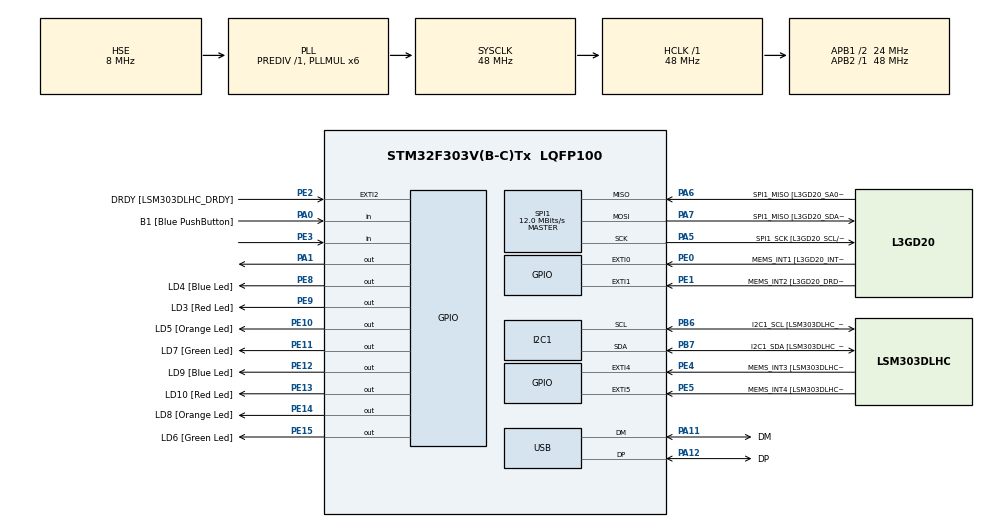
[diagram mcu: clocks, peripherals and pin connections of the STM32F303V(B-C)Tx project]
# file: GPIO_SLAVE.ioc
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I2C1.Timing=0x2000090E
I2C1.Timing-I2C=0x2000090E
Mcu.Family=STM32F3
Mcu.Name=STM32F303V(B-C)Tx
Mcu.Package=LQFP100
NVIC.PriorityGroup=NVIC_PRIORITYGROUP_0
PA0.GPIO_Label=B1 [Blue PushButton]
PA0.Signal=GPIO_Input
PA1.Signal=GPIO_Output
PA11.GPIO_Label=DM
PA11.Mode=Device
PA11.Signal=USB_DM
PA12.GPIO_Label=DP
PA12.Mode=Device
PA12.Signal=USB_DP
PA13.GPIO_Label=SWDIO
PA13.Mode=Serial_Wire
PA13.Signal=SYS_JTMS-SWDIO
PA14.GPIO_Label=SWCLK
PA14.Mode=Serial_Wire
PA14.Signal=SYS_JTCK-SWCLK
PA5.GPIO_Label=SPI1_SCK [L3GD20_SCL/SPC]
PA5.Mode=Full_Duplex_Master
PA5.Signal=SPI1_SCK
PA6.GPIO_Label=SPI1_MISO [L3GD20_SA0/SDO]
PA6.Mode=Full_Duplex_Master
PA6.Signal=SPI1_MISO
PA7.GPIO_Label=SPI1_MISO [L3GD20_SDA/SDI/SDO]
PA7.Mode=Full_Duplex_Master
PA7.Signal=SPI1_MOSI
PB3.GPIO_Label=SWO
PB3.Signal=SYS_JTDO-TRACESWO
PB6.GPIO_Label=I2C1_SCL [LSM303DLHC_SCL]
PB6.GPIO_Pu=GPIO_PULLUP
PB6.Mode=I2C
PB6.Signal=I2C1_SCL
PB7.GPIO_Label=I2C1_SDA [LSM303DLHC_SDA]
PB7.GPIO_Pu=GPIO_PULLUP
PB7.Mode=I2C
PB7.Signal=I2C1_SDA
PC14-OSC32_IN.GPIO_Label=OSC32_IN
PC14-OSC32_IN.Signal=RCC_OSC32_IN
PC15-OSC32_OUT.GPIO_Label=OSC32_OUT
PC15-OSC32_OUT.Signal=RCC_OSC32_OUT
PE0.GPIO_Label=MEMS_INT1 [L3GD20_INT1]
PE0.GPIO_ModeDefaultEXTI=GPIO_MODE_EVT_RISING
PE0.Signal=GPXTI0
PE1.GPIO_Label=MEMS_INT2 [L3GD20_DRDY/INT2]
PE1.GPIO_ModeDefaultEXTI=GPIO_MODE_EVT_RISING
PE1.Signal=GPXTI1
PE10.GPIO_Label=LD5 [Orange Led]
PE10.Signal=GPIO_Output
PE11.GPIO_Label=LD7 [Green Led]
PE11.Signal=GPIO_Output
PE12.GPIO_Label=LD9 [Blue Led]
PE12.Signal=GPIO_Output
PE13.GPIO_Label=LD10 [Red Led]
PE13.Signal=GPIO_Output
PE14.GPIO_Label=LD8 [Orange Led]
PE14.Signal=GPIO_Output
PE15.GPIO_Label=LD6 [Green Led]
PE15.Signal=GPIO_Output
PE2.GPIO_Label=DRDY [LSM303DLHC_DRDY]
PE2.GPIO_ModeDefaultEXTI=GPIO_MODE_EVT_RISING
PE2.Signal=GPXTI2
PE3.Signal=GPIO_Input
PE4.GPIO_Label=MEMS_INT3 [LSM303DLHC_INT1]
PE4.GPIO_ModeDefaultEXTI=GPIO_MODE_EVT_RISING
PE4.Signal=GPXTI4
PE5.GPIO_Label=MEMS_INT4 [LSM303DLHC_INT2]
PE5.GPIO_ModeDefaultEXTI=GPIO_MODE_EVT_RISING
PE5.Signal=GPXTI5
PE8.GPIO_Label=LD4 [Blue Led]
PE8.Signal=GPIO_Output
PE9.GPIO_Label=LD3 [Red Led]
PE9.Signal=GPIO_Output
PF0-OSC_IN.GPIO_Label=OSC_IN
PF0-OSC_IN.Mode=HSE-External-Clock-Source
PF0-OSC_IN.Signal=RCC_OSC_IN
PF1-OSC_OUT.GPIO_Label=OSC_OUT
PF1-OSC_OUT.Signal=RCC_OSC_OUT
ProjectManager.HeapSize=0x200
ProjectManager.StackSize=0x400
ProjectManager.TargetToolchain=STM32CubeIDE
RCC.AHBFreq_Value=48000000
RCC.APB1CLKDivider=RCC_HCLK_DIV2
RCC.APB1Freq_Value=24000000
RCC.APB1TimFreq_Value=48000000
RCC.APB2Freq_Value=48000000
RCC.APB2TimFreq_Value=48000000
RCC.CortexFreq_Value=48000000
RCC.HCLKFreq_Value=48000000
RCC.HSE_VALUE=8000000
RCC.HSI_VALUE=8000000
RCC.LSE_VALUE=32768
RCC.PLLMUL=RCC_PLL_MUL6
RCC.SYSCLKFreq_VALUE=48000000
RCC.SYSCLKSourceVirtual=RCC_SYSCLKSOURCE_PLLCLK
RCC.USBFreq_Value=48000000
SPI1.BaudRatePrescaler=SPI_BAUDRATEPRESCALER_4
SPI1.BaudRatePrescaler-Full_Duplex_Master=SPI_BAUDRATEPRESCALER_2
SPI1.CalculateBaudRate=12.0 MBits/s
SPI1.CalculateBaudRate-Full_Duplex_Master=24.0 MBits/s
SPI1.Direction=SPI_DIRECTION_2LINES
SPI1.Mode=SPI_MODE_MASTER
SPI1.Mode-Full_Duplex_Master=SPI_MODE_MASTER
SPI1.VirtualType=VM_MASTER
board=STM32F3DISCOVERY

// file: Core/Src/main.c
/* USER CODE BEGIN Header */
/**
  ******************************************************************************
  * @file           : main.c
  * @brief          : Main program body
  ******************************************************************************
  * @attention
  *
  * Copyright (c) 2025 STMicroelectronics.
  * All rights reserved.
  *
  * This software is licensed under terms that can be found in the LICENSE file
  * in the root directory of this software component.
  * If no LICENSE file comes with this software, it is provided AS-IS.
  *
  ******************************************************************************
  */
/* USER CODE END Header */
#include "main.h"

/* USER CODE BEGIN Includes */
#include "serial.h"
#include "timer.h"
#include <stdio.h>
#include <string.h>
#include <stdlib.h>
/* USER CODE END Includes */

I2C_HandleTypeDef hi2c1;

SPI_HandleTypeDef hspi1;

PCD_HandleTypeDef hpcd_USB_FS;

/* USER CODE BEGIN PV */
volatile uint8_t exti_flag = 0;
volatile uint8_t pin_check_pending = 0;
/* USER CODE END PV */

void SystemClock_Config(void);
static void MX_GPIO_Init(void);
static void MX_I2C1_Init(void);
static void MX_SPI1_Init(void);
static void MX_USB_PCD_Init(void);

int main(void)
{

  /* USER CODE BEGIN 1 */
    HAL_Init();
    SystemClock_Config();
    MX_GPIO_Init();      // Don't reconfigure UART TX/RX pins here
    MX_I2C1_Init();
    MX_SPI1_Init();
    MX_USB_PCD_Init();

    SerialInitialise(BAUD_115200, &USART1_PORT, &finished_transmission);
    enable_clocks();

    SerialOutputString((uint8_t*)"Slave Ready\r\n", &USART1_PORT);
  /* USER CODE END 1 */

  /* MCU Configuration--------------------------------------------------------*/

  /* Reset of all peripherals, Initializes the Flash interface and the Systick. */
  HAL_Init();

  /* Configure the system clock */
  SystemClock_Config();

  /* Initialize all configured peripherals */
  MX_GPIO_Init();
  MX_I2C1_Init();
  MX_SPI1_Init();
  MX_USB_PCD_Init();
  /* USER CODE BEGIN 2 */
  HAL_GPIO_WritePin(GPIOE, GPIO_PIN_3, GPIO_PIN_RESET);
  HAL_Delay(50);
  HAL_GPIO_WritePin(GPIOE, GPIO_PIN_3, GPIO_PIN_SET);
  HAL_Delay(50); // Allow signal to settle
  /* USER CODE END 2 */

  /* Infinite loop */
  /* USER CODE BEGIN WHILE */
  while (1)
  {
	    // Wait until master pulls PE3 high (meaning: it sent a signal)
	    if (HAL_GPIO_ReadPin(GPIOE, GPIO_PIN_3) == GPIO_PIN_SET)
	    {
	        // Optional: wait a bit to debounce or allow signal to stabilize
	        HAL_Delay(5);

	        // Check some condition (e.g., a button press or state)
	        // For demo, we just simulate a PASS condition
	        int condition_passed = 1; // Replace with actual logic

	        if (condition_passed)
	        {
	            HAL_GPIO_WritePin(GPIOA, GPIO_PIN_1, GPIO_PIN_SET);  // Send HIGH response
	            SerialOutputString((uint8_t*)"Slave: Condition PASS, sent HIGH\r\n", &USART1_PORT);
	        }
	        else
	        {
	            HAL_GPIO_WritePin(GPIOA, GPIO_PIN_1, GPIO_PIN_RESET); // Send LOW response
	            SerialOutputString((uint8_t*)"Slave: Condition FAIL, sent LOW\r\n", &USART1_PORT);
	        }

	        // Keep the signal for a short time, then reset
	        HAL_Delay(50);
	        HAL_GPIO_WritePin(GPIOA, GPIO_PIN_1, GPIO_PIN_RESET);  // Reset after pulse
	        HAL_Delay(100);  // Give some breathing room
	    }
	}

    /* USER CODE END WHILE */

  }
}

void SystemClock_Config(void)
{
  RCC_OscInitTypeDef RCC_OscInitStruct = {0};
  RCC_ClkInitTypeDef RCC_ClkInitStruct = {0};
  RCC_PeriphCLKInitTypeDef PeriphClkInit = {0};

  /** Initializes the RCC Oscillators according to the specified parameters
  * in the RCC_OscInitTypeDef structure.
  */
  RCC_OscInitStruct.OscillatorType = RCC_OSCILLATORTYPE_HSI|RCC_OSCILLATORTYPE_HSE;
  RCC_OscInitStruct.HSEState = RCC_HSE_BYPASS;
  RCC_OscInitStruct.HSEPredivValue = RCC_HSE_PREDIV_DIV1;
  RCC_OscInitStruct.HSIState = RCC_HSI_ON;
  RCC_OscInitStruct.HSICalibrationValue = RCC_HSICALIBRATION_DEFAULT;
  RCC_OscInitStruct.PLL.PLLState = RCC_PLL_ON;
  RCC_OscInitStruct.PLL.PLLSource = RCC_PLLSOURCE_HSE;
  RCC_OscInitStruct.PLL.PLLMUL = RCC_PLL_MUL6;
  if (HAL_RCC_OscConfig(&RCC_OscInitStruct) != HAL_OK)
  {
    Error_Handler();
  }

  /** Initializes the CPU, AHB and APB buses clocks
  */
  RCC_ClkInitStruct.ClockType = RCC_CLOCKTYPE_HCLK|RCC_CLOCKTYPE_SYSCLK
                              |RCC_CLOCKTYPE_PCLK1|RCC_CLOCKTYPE_PCLK2;
  RCC_ClkInitStruct.SYSCLKSource = RCC_SYSCLKSOURCE_PLLCLK;
  RCC_ClkInitStruct.AHBCLKDivider = RCC_SYSCLK_DIV1;
  RCC_ClkInitStruct.APB1CLKDivider = RCC_HCLK_DIV2;
  RCC_ClkInitStruct.APB2CLKDivider = RCC_HCLK_DIV1;

  if (HAL_RCC_ClockConfig(&RCC_ClkInitStruct, FLASH_LATENCY_1) != HAL_OK)
  {
    Error_Handler();
  }
  PeriphClkInit.PeriphClockSelection = RCC_PERIPHCLK_USB|RCC_PERIPHCLK_I2C1;
  PeriphClkInit.I2c1ClockSelection = RCC_I2C1CLKSOURCE_HSI;
  PeriphClkInit.USBClockSelection = RCC_USBCLKSOURCE_PLL;
  if (HAL_RCCEx_PeriphCLKConfig(&PeriphClkInit) != HAL_OK)
  {
    Error_Handler();
  }
}

static void MX_I2C1_Init(void)
{

  hi2c1.Instance = I2C1;
  hi2c1.Init.Timing = 0x2000090E;
  hi2c1.Init.OwnAddress1 = 0;
  hi2c1.Init.AddressingMode = I2C_ADDRESSINGMODE_7BIT;
  hi2c1.Init.DualAddressMode = I2C_DUALADDRESS_DISABLE;
  hi2c1.Init.OwnAddress2 = 0;
  hi2c1.Init.OwnAddress2Masks = I2C_OA2_NOMASK;
  hi2c1.Init.GeneralCallMode = I2C_GENERALCALL_DISABLE;
  hi2c1.Init.NoStretchMode = I2C_NOSTRETCH_DISABLE;
  if (HAL_I2C_Init(&hi2c1) != HAL_OK)
  {
    Error_Handler();
  }

  /** Configure Analogue filter
  */
  if (HAL_I2CEx_ConfigAnalogFilter(&hi2c1, I2C_ANALOGFILTER_ENABLE) != HAL_OK)
  {
    Error_Handler();
  }

  /** Configure Digital filter
  */
  if (HAL_I2CEx_ConfigDigitalFilter(&hi2c1, 0) != HAL_OK)
  {
    Error_Handler();
  }

}

static void MX_SPI1_Init(void)
{

  /* SPI1 parameter configuration*/
  hspi1.Instance = SPI1;
  hspi1.Init.Mode = SPI_MODE_MASTER;
  hspi1.Init.Direction = SPI_DIRECTION_2LINES;
  hspi1.Init.DataSize = SPI_DATASIZE_4BIT;
  hspi1.Init.CLKPolarity = SPI_POLARITY_LOW;
  hspi1.Init.CLKPhase = SPI_PHASE_1EDGE;
  hspi1.Init.NSS = SPI_NSS_SOFT;
  hspi1.Init.BaudRatePrescaler = SPI_BAUDRATEPRESCALER_4;
  hspi1.Init.FirstBit = SPI_FIRSTBIT_MSB;
  hspi1.Init.TIMode = SPI_TIMODE_DISABLE;
  hspi1.Init.CRCCalculation = SPI_CRCCALCULATION_DISABLE;
  hspi1.Init.CRCPolynomial = 7;
  hspi1.Init.CRCLength = SPI_CRC_LENGTH_DATASIZE;
  hspi1.Init.NSSPMode = SPI_NSS_PULSE_ENABLE;
  if (HAL_SPI_Init(&hspi1) != HAL_OK)
  {
    Error_Handler();
  }

}

static void MX_USB_PCD_Init(void)
{

  hpcd_USB_FS.Instance = USB;
  hpcd_USB_FS.Init.dev_endpoints = 8;
  hpcd_USB_FS.Init.speed = PCD_SPEED_FULL;
  hpcd_USB_FS.Init.phy_itface = PCD_PHY_EMBEDDED;
  hpcd_USB_FS.Init.low_power_enable = DISABLE;
  hpcd_USB_FS.Init.battery_charging_enable = DISABLE;
  if (HAL_PCD_Init(&hpcd_USB_FS) != HAL_OK)
  {
    Error_Handler();
  }

}

static void MX_GPIO_Init(void)
{
  GPIO_InitTypeDef GPIO_InitStruct = {0};

  /* GPIO Ports Clock Enable */
  __HAL_RCC_GPIOE_CLK_ENABLE();
  __HAL_RCC_GPIOC_CLK_ENABLE();
  __HAL_RCC_GPIOF_CLK_ENABLE();
  __HAL_RCC_GPIOA_CLK_ENABLE();
  __HAL_RCC_GPIOB_CLK_ENABLE();

  /*Configure GPIO pin Output Level */
  HAL_GPIO_WritePin(GPIOA, GPIO_PIN_1, GPIO_PIN_RESET);

  /*Configure GPIO pin Output Level */
  HAL_GPIO_WritePin(GPIOE, LD4_Pin|LD3_Pin|LD5_Pin|LD7_Pin
                          |LD9_Pin|LD10_Pin|LD8_Pin|LD6_Pin, GPIO_PIN_RESET);

  /*Configure GPIO pins : DRDY_Pin MEMS_INT3_Pin MEMS_INT4_Pin MEMS_INT1_Pin
                           MEMS_INT2_Pin */
  GPIO_InitStruct.Pin = DRDY_Pin|MEMS_INT3_Pin|MEMS_INT4_Pin|MEMS_INT1_Pin
                          |MEMS_INT2_Pin;
  GPIO_InitStruct.Mode = GPIO_MODE_EVT_RISING;
  GPIO_InitStruct.Pull = GPIO_NOPULL;
  HAL_GPIO_Init(GPIOE, &GPIO_InitStruct);

  /*Configure GPIO pin : PE3 */
  GPIO_InitStruct.Pin = GPIO_PIN_3;
  GPIO_InitStruct.Mode = GPIO_MODE_INPUT;
  GPIO_InitStruct.Pull = GPIO_NOPULL;
  HAL_GPIO_Init(GPIOE, &GPIO_InitStruct);

  /*Configure GPIO pin : B1_Pin */
  GPIO_InitStruct.Pin = B1_Pin;
  GPIO_InitStruct.Mode = GPIO_MODE_INPUT;
  GPIO_InitStruct.Pull = GPIO_NOPULL;
  HAL_GPIO_Init(B1_GPIO_Port, &GPIO_InitStruct);

  /*Configure GPIO pin : PA1 */
  GPIO_InitStruct.Pin = GPIO_PIN_1;
  GPIO_InitStruct.Mode = GPIO_MODE_OUTPUT_PP;
  GPIO_InitStruct.Pull = GPIO_NOPULL;
  GPIO_InitStruct.Speed = GPIO_SPEED_FREQ_LOW;
  HAL_GPIO_Init(GPIOA, &GPIO_InitStruct);

  /*Configure GPIO pins : LD4_Pin LD3_Pin LD5_Pin LD7_Pin
                           LD9_Pin LD10_Pin LD8_Pin LD6_Pin */
  GPIO_InitStruct.Pin = LD4_Pin|LD3_Pin|LD5_Pin|LD7_Pin
                          |LD9_Pin|LD10_Pin|LD8_Pin|LD6_Pin;
  GPIO_InitStruct.Mode = GPIO_MODE_OUTPUT_PP;
  GPIO_InitStruct.Pull = GPIO_NOPULL;
  GPIO_InitStruct.Speed = GPIO_SPEED_FREQ_LOW;
  HAL_GPIO_Init(GPIOE, &GPIO_InitStruct);

  /* USER CODE BEGIN MX_GPIO_Init_2 */
  // PE3: INPUT from master (watch for signal)
  GPIO_InitStruct.Pin = GPIO_PIN_3;
  GPIO_InitStruct.Mode = GPIO_MODE_INPUT;
  GPIO_InitStruct.Pull = GPIO_NOPULL;
  HAL_GPIO_Init(GPIOE, &GPIO_InitStruct);

  // PA1: OUTPUT to master (response pin)
  GPIO_InitStruct.Pin = GPIO_PIN_1;
  GPIO_InitStruct.Mode = GPIO_MODE_OUTPUT_PP;
  GPIO_InitStruct.Pull = GPIO_NOPULL;
  GPIO_InitStruct.Speed = GPIO_SPEED_FREQ_LOW;
  HAL_GPIO_Init(GPIOA, &GPIO_InitStruct);

  // Ensure response is initially low
  HAL_GPIO_WritePin(GPIOA, GPIO_PIN_1, GPIO_PIN_RESET);

  /* USER CODE END MX_GPIO_Init_2 */
}

/* USER CODE BEGIN 4 */
void HAL_GPIO_EXTI_Callback(uint16_t GPIO_Pin)
{
    if (GPIO_Pin == GPIO_PIN_1)
    {
        SerialOutputString((uint8_t*)"Triggered by Master\r\n", &USART1_PORT);
    }
}
/* USER CODE END 4 */

void Error_Handler(void)
{
  __disable_irq();
  while (1)
  {
  }
}
